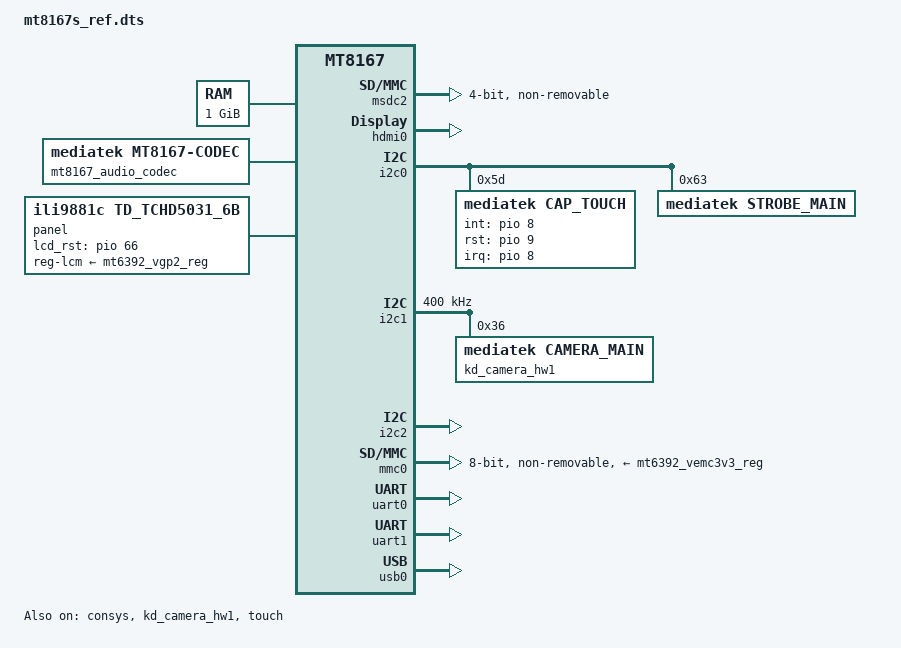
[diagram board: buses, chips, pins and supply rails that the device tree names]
/*
 * Copyright (c) 2014-2015 MediaTek Inc.
 *
 * This program is free software; you can redistribute it and/or modify
 * it under the terms of the GNU General Public License version 2 as
 * published by the Free Software Foundation.
 *
 * This program is distributed in the hope that it will be useful,
 * MERCHANTABILITY or FITNESS FOR A PARTICULAR PURPOSE.  See the
 * GNU General Public License for more details.
 */

/dts-v1/;

#include "mt8167.dtsi"
#include "mt6392.dtsi"
#include "mt8167s_ref_bat_setting.dtsi"

/ {
	memory@00000000 {
		device_type = "memory";
		reg = <0 0x40000000 0 0x40000000>;
	};

	/* chosen */
	chosen {
		bootargs = "console=ttyS0,921600n1 root=/dev/ram initrd=0x44000200,0x200000";
	};

	msdc2: sdio@11170000 {
		compatible = "mediatek,mt8167-sdio";
		reg = <0 0x11170000 0 0x1000>;
		interrupts = <GIC_SPI 109 IRQ_TYPE_LEVEL_LOW>;
		clocks = <&topckgen CLK_TOP_MSDC2>,
			 <&topckgen CLK_TOP_MSDC2_INFRA>;
		clock-names = "source", "hclk";
		status = "disabled";
	};

	mtcpufreq {
		compatible = "mediatek,mt8167-cpufreq";
	};

	mt8167_audio_codec: mt8167_audio_codec {
		compatible = "mediatek,mt8167-codec";
		clocks = <&topckgen CLK_TOP_AUDIO>;
		clock-names = "bus";
		mediatek,afe-regmap = <&afe>;
		mediatek,apmixedsys-regmap = <&apmixedsys>;
		mediatek,pwrap-regmap = <&pwrap>;
		mediatek,speaker-mode = <0>; /* 0(CLASSD) 1(CLASSAB) */
		mediatek,dmic-wire-mode = <1>; /* 0(ONE_WIRE) 1(TWO_WIRE) */
		mediatek,headphone-cap-sel = <1>; /* 0(10UF) 1(22UF) 2(33UF) 3(47UF) */
	};

	panel: panel@0 {
		compatible = "ili9881c,td_tchd5031_6b";
		gpio_lcd_rst = <&pio 66 0>;
		reg-lcm-supply = <&mt6392_vgp2_reg>;
		status = "okay";
	};

	sound: sound {
		compatible = "mediatek,mt8516-mt7668-ref";
		mediatek,platform = <&afe>;
		pinctrl-names = "default";
		pinctrl-0 = <&aud_pins_default>;
		status = "okay";
	};
};

&afe {
	/* 0(HDMI) 1(I2S) 2(TDM) */
	mediatek,tdm-out-mode = <1>;
	/* 0(IRQ1) 1(IRQ2) 4(IRQ7) */
	mediatek,awb-irq-mode = <4>;
	/* 0(seperate clock) 1(shared clock) */
	mediatek,i2s-clock-modes = <1 1>;
};

&bat_comm {
	interrupt-parent = <&pmic>;
	interrupts = <10 IRQ_TYPE_LEVEL_HIGH>;
};

&consys {
	pinctrl-names = "default", "gps_lna_state_init", "gps_lna_state_oh", "gps_lna_state_ol";
	pinctrl-0 = <&consys_pins_default>;
	pinctrl-1 = <&gpslna_pins_init>;
	pinctrl-2 = <&gpslna_pins_oh>;
	pinctrl-3 = <&gpslna_pins_ol>;
	vcn18-supply = <&mt6392_vcn18_reg>;
	vcn35-supply = <&mt6392_vcn35_reg>;
	status = "okay";
};

&cpu0 {
	proc-supply = <&mt6392_vproc_reg>;
};

&cpu1 {
	proc-supply = <&mt6392_vproc_reg>;
};

&cpu2 {
	proc-supply = <&mt6392_vproc_reg>;
};

&cpu3 {
	proc-supply = <&mt6392_vproc_reg>;
};

&hdmi0 {
	pinctrl-names = "default", "hdmi_hpd";
	pinctrl-0 = <&hdmi_pins_default>;
	pinctrl-1 = <&hdmi_pins_hpd>;
	status = "okay";
};

&i2c0 {
	clock-div = <2>;
	pinctrl-names = "default";
	pinctrl-0 = <&i2c0_pins_a>;
	status = "okay";

	cap_touch@5d {
		compatible = "mediatek,cap_touch";
		reg = <0x5d>;
		interrupt-parent = <&pio>;
		interrupts = <8 IRQ_TYPE_EDGE_FALLING>;
		int-gpio = <&pio 8 0>;
		rst-gpio = <&pio 9 0>;
	};

	strobe_main@63 {
		compatible = "mediatek,strobe_main";
		reg = <0x63>;
	};
};

&i2c1 {
	clock-div = <2>;
	pinctrl-names = "default";
	pinctrl-0 = <&i2c1_pins_a>;
	status = "okay";
	clock-frequency = <400000>;

	kd_camera_hw1@36 {
		compatible = "mediatek,camera_main";
		reg = <0x36>;
	};
};

&i2c2 {
	clock-div = <2>;
	pinctrl-names = "default";
	pinctrl-0 = <&i2c2_pins_a>;
	status = "okay";
};

/* Main Cam */
&kd_camera_hw1 {
	reg-vcama-supply = <&mt6392_vcama_reg>;		/* AVDD */
	reg-vcamd-supply = <&mt6392_vcamd_reg>;		/* DVDD */
	reg-vcamio-supply = <&mt6392_vcamio_reg>;	/* DOVDD */
	reg-vcamaf-supply = <&mt6392_vcamaf_reg>;	/* AFVDD */

	pinctrl-names = "default",
		"cam_mclk", "cam_gpio84", "cam_gpio85",
		"cam_gpio86", "cam_gpio87", "cam_gpio88",  "cam_gpio89";

	pinctrl-0 = <&camera_pins_default>;
	pinctrl-1 = <&camera_pins_cam_mclk>;
	pinctrl-2 = <&camera_pins_gpio84>;
	pinctrl-3 = <&camera_pins_gpio85>;
	pinctrl-4 = <&camera_pins_gpio86>;
	pinctrl-5 = <&camera_pins_gpio87>;
	pinctrl-6 = <&camera_pins_gpio88>;
	pinctrl-7 = <&camera_pins_gpio89>;

	cam0_rst = <&pio 10 0>;
	cam0_pdn = <&pio 7 0>;
	status = "okay";
};

&keypad {
	mediatek,kpd-key-debounce = <1024>;
	mediatek,kpd-sw-pwrkey = <116>;
	mediatek,kpd-hw-pwrkey = <8>;
	mediatek,kpd-sw-rstkey  = <114>;
	mediatek,kpd-hw-rstkey = <17>;
	mediatek,kpd-use-extend-type = <0>;
	/*HW Keycode [0~71] -> Linux Keycode*/
	mediatek,kpd-hw-map-num = <72>;
	mediatek,kpd-hw-init-map = <115 113 0 0 0 0 0 0 0 0 0 0 0 0 0 0 0 0 0 0 0 0 0 0
			0 0 0 0 0 0 0 0 0 0 0 0 0 0 0 0 0 0 0 0 0 0 0 0
			0 0 0 0 0 0 0 0 0 0 0 0 0 0 0 0 0 0 0 0 0 0 0 0 >;
	mediatek,kpd-pwrkey-eint-gpio = <0>;
	mediatek,kpd-pwkey-gpio-din  = <0>;
	mediatek,kpd-hw-dl-key0 = <0>;
	mediatek,kpd-hw-dl-key1 = <17>;
	mediatek,kpd-hw-dl-key2 = <8>;
	mediatek,kpd-hw-recovery-key = <17>;
	mediatek,kpd-hw-factory-key  = <0>;
};

&led6 {
	ate_gpio = <&pio 43 0>;
};

&mmc0 {
	pinctrl-names = "default", "state_uhs";
	pinctrl-0 = <&mmc0_pins_default>;
	pinctrl-1 = <&mmc0_pins_uhs>;
	status = "okay";
	bus-width = <8>;
	max-frequency = <200000000>;
	cap-mmc-highspeed;
	mmc-hs200-1_8v;
	cap-mmc-hw-reset;
	vmmc-supply = <&mt6392_vemc3v3_reg>;
	vqmmc-supply = <&mt6392_vio18_reg>;
	non-removable;
};

&msdc2 {
	pinctrl-names = "default", "state_uhs";
	pinctrl-0 = <&mmc2_pins_default>;
	pinctrl-1 = <&mmc2_pins_uhs>;
	status = "okay";
	bus-width = <4>;
	max-frequency = <200000000>;
	cap-sd-highspeed;
	sd-uhs-sdr50;
	sd-uhs-sdr104;
	keep-power-in-suspend;
	enable-sdio-wakeup;
	cap-sdio-irq;
	non-removable;
};

&mt6392_vcn18_reg {
	regulator-always-on;
};

&mt6392_vmch_reg {
	regulator-always-on;
};

&pio {
	pinctrl-names = "default";
	pinctrl-0 = <&state_default>;

	state_default:pinconf_default {
	};

	aud_pins_default: audiodefault {
		pins_cmd_dat {
			pinmux = <MT8167_PIN_25_EINT25__FUNC_I2S_8CH_MCK>,
				 <MT8167_PIN_55_I2S_DATA_IN__FUNC_I2S_8CH_DO1>,
				 <MT8167_PIN_56_I2S_LRCK__FUNC_I2S_8CH_LRCK>,
				 <MT8167_PIN_57_I2S_BCK__FUNC_I2S_8CH_BCK>,
				 <MT8167_PIN_100_CMDAT0__FUNC_TDM_RX_MCK>,
				 <MT8167_PIN_101_CMDAT1__FUNC_TDM_RX_BCK>,
				 <MT8167_PIN_16_EINT16__FUNC_TDM_RX_LRCK>,
				 <MT8167_PIN_103_CMPCLK__FUNC_TDM_RX_DI>,
				 <MT8167_PIN_1_EINT1__FUNC_I2S2_DI>;
				 drive-strength = <MTK_DRIVE_4mA>;
		};
	};

	/* CAMERA GPIO standardization */
	/* default mode */
	camera_pins_default: camdefault {
		pins_cmd_dat {
			pinmux = <MT8167_PIN_84_RDN0__FUNC_RDN0>,
				<MT8167_PIN_85_RDP0__FUNC_RDP0>,
				<MT8167_PIN_86_RDN1__FUNC_RDN1>,
				<MT8167_PIN_87_RDP1__FUNC_RDP1>,
				<MT8167_PIN_88_RCN__FUNC_RCN>,
				<MT8167_PIN_89_RCP__FUNC_RCP>;
		};
	};

	camera_pins_cam_mclk: cam_pin_mclk {
		pins_cmd_dat {
			pins = <MT8167_PIN_102_CMMCLK__FUNC_CMMCLK>;
		};
	};

	camera_pins_gpio88: cam_pin_gpio88 {
		pins_cmd_dat {
			pins = <MT8167_PIN_88_RCN__FUNC_RCN>;
		};
	};

	camera_pins_gpio89: cam_pin_gpio89 {
		pins_cmd_dat {
			pins = <MT8167_PIN_89_RCP__FUNC_RCP>;
		};
	};

	camera_pins_gpio86: cam_pin_gpio86 {
		pins_cmd_dat {
			pins = <MT8167_PIN_86_RDN1__FUNC_RDN1>;
		};
	};

	camera_pins_gpio87: cam_pin_gpio87 {
		pins_cmd_dat {
			pins = <MT8167_PIN_87_RDP1__FUNC_RDP1>;
		};
	};

	camera_pins_gpio84: cam_pin_gpio84 {
		pins_cmd_dat {
			pins = <MT8167_PIN_84_RDN0__FUNC_RDN0>;
		};
	};

	camera_pins_gpio85: cam_pin_gpio85 {
		pins_cmd_dat {
			pins = <MT8167_PIN_85_RDP0__FUNC_RDP0>;
		};
	};

	/* CONSYS GPIO Settings - Start */
	consys_pins_default: default {

	};
	/* CONSYS GPIO Settings - End */

	CTP_pins_default: eint0default {
		pins_cmd_dat {
			pins = <MT8167_PIN_8_EINT8__FUNC_GPIO8>;
			slew-rate = <0>;
			bias-disable;
		};
	};

	CTP_pins_eint_as_int: eint@0 {
		pins_cmd_dat {
			pins = <MT8167_PIN_8_EINT8__FUNC_GPIO8>;
			slew-rate = <0>;
			bias-disable;
		};
	};

	CTP_pins_eint_output0: eintoutput0 {
		pins_cmd_dat {
			pins = <MT8167_PIN_8_EINT8__FUNC_GPIO8>;
			slew-rate = <1>;
			output-low;
		};
	};

	CTP_pins_eint_output1: eintoutput1 {
		pins_cmd_dat {
			pins = <MT8167_PIN_8_EINT8__FUNC_GPIO8>;
			slew-rate = <1>;
			output-high;
		};
	};

	CTP_pins_rst_output0: rstoutput0 {
		pins_cmd_dat {
			pins = <MT8167_PIN_9_EINT9__FUNC_GPIO9>;
			slew-rate = <1>;
			output-low;
		};
	};

	CTP_pins_rst_output1: rstoutput1 {
		pins_cmd_dat {
			pins = <MT8167_PIN_9_EINT9__FUNC_GPIO9>;
			slew-rate = <1>;
			output-high;
		};
	};

	dpi_pins_default: dpi_pins_default {
		pins_cmd_dat {
			pins = <MT8167_PIN_0_EINT0__FUNC_DPI_CK>,
			<MT8167_PIN_24_EINT24__FUNC_DPI_DE>,
			<MT8167_PIN_25_EINT25__FUNC_DPI_VSYNC>,
			<MT8167_PIN_35_UTXD2__FUNC_DPI_HSYNC>,
			<MT8167_PIN_13_EINT13__FUNC_DPI_D0>,
			<MT8167_PIN_38_MRG_DI__FUNC_DPI_D1>,
			<MT8167_PIN_39_MRG_DO__FUNC_DPI_D2>,
			<MT8167_PIN_37_MRG_SYNC__FUNC_DPI_D3>,
			<MT8167_PIN_36_MRG_CLK__FUNC_DPI_D4>,
			<MT8167_PIN_34_URXD2__FUNC_DPI_D5>,
			<MT8167_PIN_7_EINT7__FUNC_DPI_D6>,
			<MT8167_PIN_8_EINT8__FUNC_DPI_D7>,
			<MT8167_PIN_9_EINT9__FUNC_DPI_D8>,
			<MT8167_PIN_10_EINT10__FUNC_DPI_D9>,
			<MT8167_PIN_11_EINT11__FUNC_DPI_D10>,
			<MT8167_PIN_12_EINT12__FUNC_DPI_D11>,
			<MT8167_PIN_1_EINT1__FUNC_DPI_D12>,
			<MT8167_PIN_2_EINT2__FUNC_DPI_D13>,
			<MT8167_PIN_3_EINT3__FUNC_DPI_D14>,
			<MT8167_PIN_4_EINT4__FUNC_DPI_D15>,
			<MT8167_PIN_5_EINT5__FUNC_DPI_D16>,
			<MT8167_PIN_6_EINT6__FUNC_DPI_D17>;
			drive-strength = <MTK_DRIVE_8mA>;
		};
	};

	/* CONSYS GPIO Settings - Start */
	gpslna_pins_init: gpslna@0 {
	};

	gpslna_pins_oh: gpslna@1 {
	};

	gpslna_pins_ol: gpslna@2 {
	};
	/* CONSYS GPIO Settings - End */

	hdmi_pins_default: hdmi_pins_default {
	};

	hdmi_pins_hpd: hdmi_pins_hpd {
	};

	i2c0_pins_a: i2c0@0 {
		pins1 {
			pinmux = <MT8167_PIN_58_SDA0__FUNC_SDA0_0>,
				 <MT8167_PIN_59_SCL0__FUNC_SCL0_0>;
			bias-disable;
		};
	};

	i2c1_pins_a: i2c1@0 {
		pins1 {
			pinmux = <MT8167_PIN_52_SDA1__FUNC_SDA1_0>,
				 <MT8167_PIN_53_SCL1__FUNC_SCL1_0>;
			bias-disable;
		};
	};

	i2c2_pins_a: i2c2@0 {
		pins1 {
			pinmux = <MT8167_PIN_60_SDA2__FUNC_SDA2_0>,
				 <MT8167_PIN_61_SCL2__FUNC_SCL2_0>;
			bias-disable;
		};
	};

	kpd_pins_default: kpddefault {
		pins_cols {
			pinmux = <MT8167_PIN_42_KPCOL0__FUNC_KPCOL0>,
				 <MT8167_PIN_43_KPCOL1__FUNC_KPCOL1>;
			input-enable;
			bias-pull-up = <MTK_PUPD_SET_R1R0_01>;
		};

		pins_rows {
			pinmux = <MT8167_PIN_40_KPROW0__FUNC_KPROW0>,
				 <MT8167_PIN_41_KPROW1__FUNC_KPROW1>;
			output-low;
			bias-disable;
		};
	};

	mmc0_pins_default: mmc0default {
		pins_cmd_dat {
			pinmux = <MT8167_PIN_120_MSDC0_DAT0__FUNC_MSDC0_DAT0>,
				<MT8167_PIN_119_MSDC0_DAT1__FUNC_MSDC0_DAT1>,
				<MT8167_PIN_118_MSDC0_DAT2__FUNC_MSDC0_DAT2>,
				<MT8167_PIN_117_MSDC0_DAT3__FUNC_MSDC0_DAT3>,
				<MT8167_PIN_113_MSDC0_DAT4__FUNC_MSDC0_DAT4>,
				<MT8167_PIN_112_MSDC0_DAT5__FUNC_MSDC0_DAT5>,
				<MT8167_PIN_111_MSDC0_DAT6__FUNC_MSDC0_DAT6>,
				<MT8167_PIN_110_MSDC0_DAT7__FUNC_MSDC0_DAT7>,
				<MT8167_PIN_115_MSDC0_CMD__FUNC_MSDC0_CMD>;
			input-enable;
			bias-pull-up;
		};

		pins_clk {
			pinmux = <MT8167_PIN_116_MSDC0_CLK__FUNC_MSDC0_CLK>;
			bias-pull-down;
		};

		pins_rst {
			pinmux = <MT8167_PIN_114_MSDC0_RSTB__FUNC_MSDC0_RSTB>;
			bias-pull-up;
		};
	};

	mmc0_pins_uhs: mmc0@0{
		pins_cmd_dat {
			pinmux = <MT8167_PIN_120_MSDC0_DAT0__FUNC_MSDC0_DAT0>,
				<MT8167_PIN_119_MSDC0_DAT1__FUNC_MSDC0_DAT1>,
				<MT8167_PIN_118_MSDC0_DAT2__FUNC_MSDC0_DAT2>,
				<MT8167_PIN_117_MSDC0_DAT3__FUNC_MSDC0_DAT3>,
				<MT8167_PIN_113_MSDC0_DAT4__FUNC_MSDC0_DAT4>,
				<MT8167_PIN_112_MSDC0_DAT5__FUNC_MSDC0_DAT5>,
				<MT8167_PIN_111_MSDC0_DAT6__FUNC_MSDC0_DAT6>,
				<MT8167_PIN_110_MSDC0_DAT7__FUNC_MSDC0_DAT7>,
				<MT8167_PIN_115_MSDC0_CMD__FUNC_MSDC0_CMD>;
			input-enable;
			drive-strength = <MTK_DRIVE_6mA>;
			bias-pull-up = <MTK_PUPD_SET_R1R0_01>;
		};

		pins_clk {
			pinmux = <MT8167_PIN_116_MSDC0_CLK__FUNC_MSDC0_CLK>;
			drive-strength = <MTK_DRIVE_8mA>;
			bias-pull-down = <MTK_PUPD_SET_R1R0_10>;
		};

		pins_rst {
			pinmux = <MT8167_PIN_114_MSDC0_RSTB__FUNC_MSDC0_RSTB>;
			bias-pull-up;
		};
	};

	mmc2_pins_default: mmc2default {
		pins_cmd_dat {
			pinmux = <MT8167_PIN_70_MSDC2_DAT0__FUNC_MSDC2_DAT0>,
				<MT8167_PIN_71_MSDC2_DAT1__FUNC_MSDC2_DAT1>,
				<MT8167_PIN_72_MSDC2_DAT2__FUNC_MSDC2_DAT2>,
				<MT8167_PIN_73_MSDC2_DAT3__FUNC_MSDC2_DAT3>,
				<MT8167_PIN_68_MSDC2_CMD__FUNC_MSDC2_CMD>;
			input-enable;
			drive-strength = <MTK_DRIVE_6mA>;
			bias-pull-up = <MTK_PUPD_SET_R1R0_01>;
		};

		pins_clk {
			pinmux = <MT8167_PIN_69_MSDC2_CLK__FUNC_MSDC2_CLK>;
			drive-strength = <MTK_DRIVE_6mA>;
			bias-pull-down = <MTK_PUPD_SET_R1R0_10>;
		};

		pins_pmu_en {
			pinmux = <MT8167_PIN_2_EINT2__FUNC_GPIO2>;
			output-high;
		};
	};

	mmc2_pins_uhs: mmc2@0 {
		pins_cmd_dat {
			pinmux = <MT8167_PIN_70_MSDC2_DAT0__FUNC_MSDC2_DAT0>,
				<MT8167_PIN_71_MSDC2_DAT1__FUNC_MSDC2_DAT1>,
				<MT8167_PIN_72_MSDC2_DAT2__FUNC_MSDC2_DAT2>,
				<MT8167_PIN_73_MSDC2_DAT3__FUNC_MSDC2_DAT3>,
				<MT8167_PIN_68_MSDC2_CMD__FUNC_MSDC2_CMD>;
			input-enable;
			drive-strength = <MTK_DRIVE_6mA>;
			bias-pull-up = <MTK_PUPD_SET_R1R0_01>;
		};

		pins_clk {
			pinmux = <MT8167_PIN_69_MSDC2_CLK__FUNC_MSDC2_CLK>;
			drive-strength = <MTK_DRIVE_8mA>;
			bias-pull-down = <MTK_PUPD_SET_R1R0_10>;
		};
	};

/* USB GPIO start */
	usb0_drvvbus: drvvbus_init {
		pins_cmd_dat {
			pins = <MT8167_PIN_18_EINT18__FUNC_USB_DRVVBUS>;
			output-low;
		};
	};

	usb0_drvvbus_high: drvvbus_high {
		pins_cmd_dat {
			pins = <MT8167_PIN_18_EINT18__FUNC_USB_DRVVBUS>;
			slew-rate = <1>;
			output-high;
		};
	};

	usb0_drvvbus_low: drvvbus_low {
		pins_cmd_dat {
			pins = <MT8167_PIN_18_EINT18__FUNC_USB_DRVVBUS>;
			slew-rate = <1>;
			output-low;
		};
	};

	usb0_iddig: iddig_irq_init {
		pins_cmd_dat {
			pins = <MT8167_PIN_19_EINT19__FUNC_IDDIG>;
			slew-rate = <0>;
			bias-pull-up = <00>;
		};
	};
/* USB GPIO end */
};

&pmic {
	interrupt-parent = <&pio>;
	interrupts = <28 IRQ_TYPE_LEVEL_HIGH>;
	interrupt-controller;
	#interrupt-cells = <2>;
};

&ptp_od {
	vproc-supply = <&mt6392_vproc_reg>;
	vcore-supply = <&mt6392_vcore_reg>;
};

&touch {
	vtouch-supply = <&mt6392_vmc_reg>;
	tpd-resolution = <720 1280>;
	use-tpd-button = <0>;
	tpd-key-num = <4>;
	tpd-key-local= <139 172 158 0>;
	tpd-key-dim-local = <60 850 50 30 180 850 50 30 300 850 50 30 420 850 50 30>;
	tpd-max-touch-num = <5>;
	tpd-filter-enable = <1>;
	tpd-filter-pixel-density = <124>;
	tpd-filter-custom-prameters = <0 0 0 0 0 0 0 0 0 0 0 0>;
	tpd-filter-custom-speed = <0 0 0>;
	pinctrl-names = "default", "state_eint_as_int", "state_eint_output0", "state_eint_output1",
		"state_rst_output0", "state_rst_output1";
	pinctrl-0 = <&CTP_pins_default>;
	pinctrl-1 = <&CTP_pins_eint_as_int>;
	pinctrl-2 = <&CTP_pins_eint_output0>;
	pinctrl-3 = <&CTP_pins_eint_output1>;
	pinctrl-4 = <&CTP_pins_rst_output0>;
	pinctrl-5 = <&CTP_pins_rst_output1>;
	status = "okay";
};

&uart0 {
	status="okay";
};

&uart1 {
	status="okay";
};

&usb0 {
	pinctrl-names = "iddig_irq_init", "drvvbus_init", "drvvbus_low", "drvvbus_high";
	pinctrl-0 = <&usb0_iddig>;
	pinctrl-1 = <&usb0_drvvbus>;
	pinctrl-2 = <&usb0_drvvbus_low>;
	pinctrl-3 = <&usb0_drvvbus_high>;
	usb-power-supply = <&mt6392_vusb_reg>;

	drvvbus_gpio = <&pio 18 2>;
	iddig_gpio = <&pio 19 2>;

	status = "okay";
};
